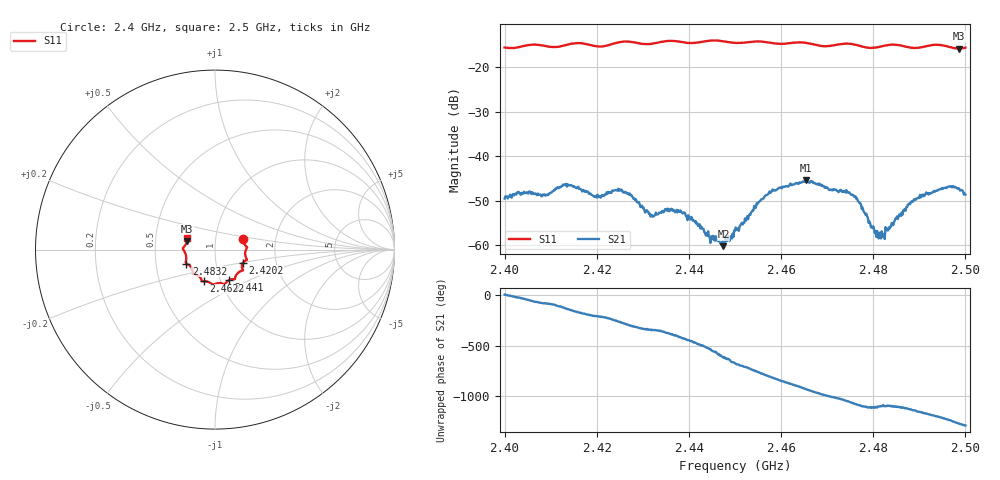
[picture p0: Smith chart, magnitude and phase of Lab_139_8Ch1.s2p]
# Hz S RI R 50
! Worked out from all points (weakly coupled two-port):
!   601 points, 2.4 GHz to 2.5 GHz, reference 50 ohm
!   highest |S21| = -45.46 dB at 2.4653 GHz (marker M1); lowest = -60.3 dB at 2.4475 GHz (marker M2)
!   lowest |S11| = -15.8 dB at 2.4987 GHz (marker M3), VSWR 1.39, Z = 36.4 + j3.38 ohm
!   |S11| at or under -10 dB: start of sweep to end of sweep
!   S12 and S22 are empty: the file has one direction only
!   S11 on the Smith chart (normalised r, x): 2.4 GHz: 1.36, +0.16; 2.4202 GHz: 1.35, -0.20; 2.441 GHz: 1.09, -0.39; 2.4622 GHz: 0.83, -0.30; 2.4832 GHz: 0.72, -0.12; 2.5 GHz: 0.73, +0.09
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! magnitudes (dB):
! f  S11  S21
! 2.4 GHz  -15.5  -49.5
! 2.4132 GHz  -15.0  -46.3
! 2.4167 GHz  -14.6  -47.6
! 2.4202 GHz  -15.3  -48.7
! 2.4252 GHz  -14.3  -47.7
! 2.4318 GHz  -14.7  -53.2
! 2.4333 GHz  -14.4  -53.1
! 2.4378 GHz  -14.2  -52.4
! 2.441 GHz  -14.5  -54.5
! 2.4475 GHz  -14.2  -60.3
! 2.45 GHz  -14.5  -56.7
! 2.457 GHz  -14.4  -48.6
! 2.4622 GHz  -14.5  -46.3
! 2.4653 GHz  -14.5  -45.5
! 2.4667 GHz  -14.7  -45.8
! 2.4747 GHz  -14.7  -48.2
! 2.4807 GHz  -15.5  -58.2
! 2.4832 GHz  -15.0  -56.8
! 2.4833 GHz  -15.0  -56.1
! 2.4903 GHz  -15.5  -49.3
! 2.4987 GHz  -15.8  -47.4
! 2.5 GHz  -15.6  -48.6
